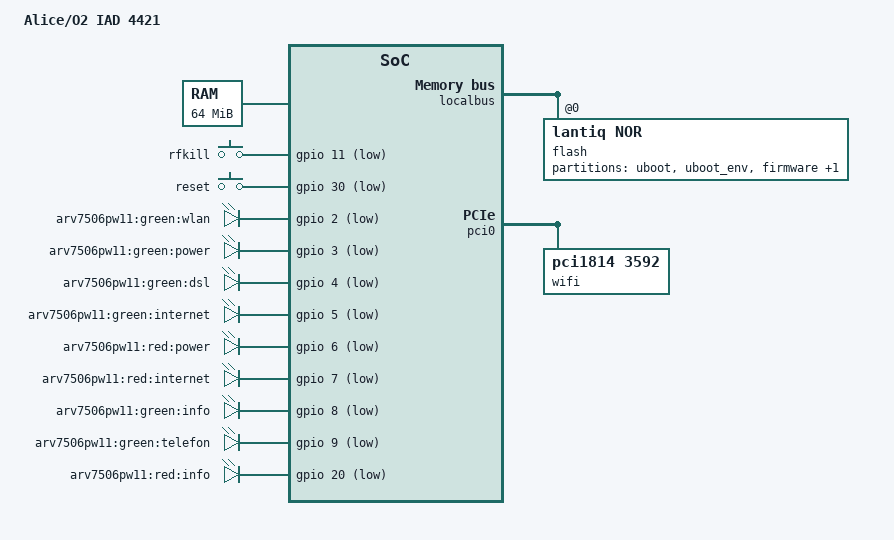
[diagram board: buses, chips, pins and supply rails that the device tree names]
/dts-v1/;

#include "danube.dtsi"

#include <dt-bindings/input/input.h>

/ {
	compatible = "arcadyan,arv7506pw11", "lantiq,xway", "lantiq,danube";
	model = "Alice/O2 IAD 4421";

	chosen {
		bootargs = "console=ttyLTQ0,115200";
	};

	aliases {
		led-boot = &power;
		led-failsafe = &power_red;
		led-running = &power;
		led-upgrade = &power;

		led-dsl = &dsl;
		led-internet = &internet;
		led-wifi = &wlan;
	};

	memory@0 {
		device_type = "memory";
		reg = <0x0 0x4000000>;
	};

	keys {
		compatible = "gpio-keys-polled";
		poll-interval = <100>;

		rfkill {
			label = "rfkill";
			gpios = <&gpio 11 GPIO_ACTIVE_LOW>;
			linux,code = <KEY_RFKILL>;
		};
		reset {
			label = "reset";
			gpios = <&gpio 30 GPIO_ACTIVE_LOW>;
			linux,code = <KEY_RESTART>;
		};
	};

	leds {
		compatible = "gpio-leds";
		wlan: wlan {
			label = "arv7506pw11:green:wlan";
			gpios = <&gpio 2 GPIO_ACTIVE_LOW>;
		};
		power: power {
			label = "arv7506pw11:green:power";
			gpios = <&gpio 3 GPIO_ACTIVE_LOW>;
			default-state = "keep";
		};
		dsl: dsl {
			label = "arv7506pw11:green:dsl";
			gpios = <&gpio 4 GPIO_ACTIVE_LOW>;
		};
		internet: internet {
			label = "arv7506pw11:green:internet";
			gpios = <&gpio 5 GPIO_ACTIVE_LOW>;
		};
		power_red: power_red {
			label = "arv7506pw11:red:power";
			gpios = <&gpio 6 GPIO_ACTIVE_LOW>;
		};
		internet_red {
			label = "arv7506pw11:red:internet";
			gpios = <&gpio 7 GPIO_ACTIVE_LOW>;
		};
		info {
			label = "arv7506pw11:green:info";
			gpios = <&gpio 8 GPIO_ACTIVE_LOW>;
		};
		telefon {
			label = "arv7506pw11:green:telefon";
			gpios = <&gpio 9 GPIO_ACTIVE_LOW>;
		};
		info_red {
			label = "arv7506pw11:red:info";
			gpios = <&gpio 20 GPIO_ACTIVE_LOW>;
		};
	};
};

&gpio {
	pinctrl-names = "default";
	pinctrl-0 = <&state_default>;

	state_default: pinmux {
		pci_rst {
			lantiq,pins = "io21";
			lantiq,pull = <2>;
			lantiq,output = <1>;
		};
	};
};

/* GPIO 19: switch reset */
&gsw {
	phy-mode = "rmii";
	mtd-mac-address = <&boardconfig 0x16>;
};

&localbus {
	flash@0 {
		compatible = "lantiq,nor";
		bank-width = <2>;
		reg = <0 0x0 0x800000>;

		partitions {
			compatible = "fixed-partitions";
			#address-cells = <1>;
			#size-cells = <1>;

			partition@0 {
				label = "uboot";
				reg = <0x00000 0x40000>;
				read-only;
			};

			partition@40000 {
				label = "uboot_env";
				reg = <0x40000 0x10000>;
				read-only;
			};

			partition@50000 {
				label = "firmware";
				reg = <0x50000 0x7a0000>;
			};

			boardconfig: partition@7f0000 {
				label = "board_config";
				reg = <0x7f0000 0x10000>;
				read-only;
			};
		};
	};
};

&pci0 {
	status = "okay";

	pinctrl-0 = <&pci_gnt1_pins>, <&pci_req1_pins>;
	pinctrl-names = "default";

	lantiq,external-clock;
	gpio-reset = <&gpio 21 GPIO_ACTIVE_HIGH>;

	wifi@1814,3592 {
		compatible = "pci1814,3592";
		reg = <0x7000 0 0 0 0>;
		ralink,mtd-eeprom = <&boardconfig 0x410>;
		ralink,mtd-eeprom-swap;
		mtd-mac-address = <&boardconfig 0x16>;
		mtd-mac-address-increment = <1>;
	};
};
